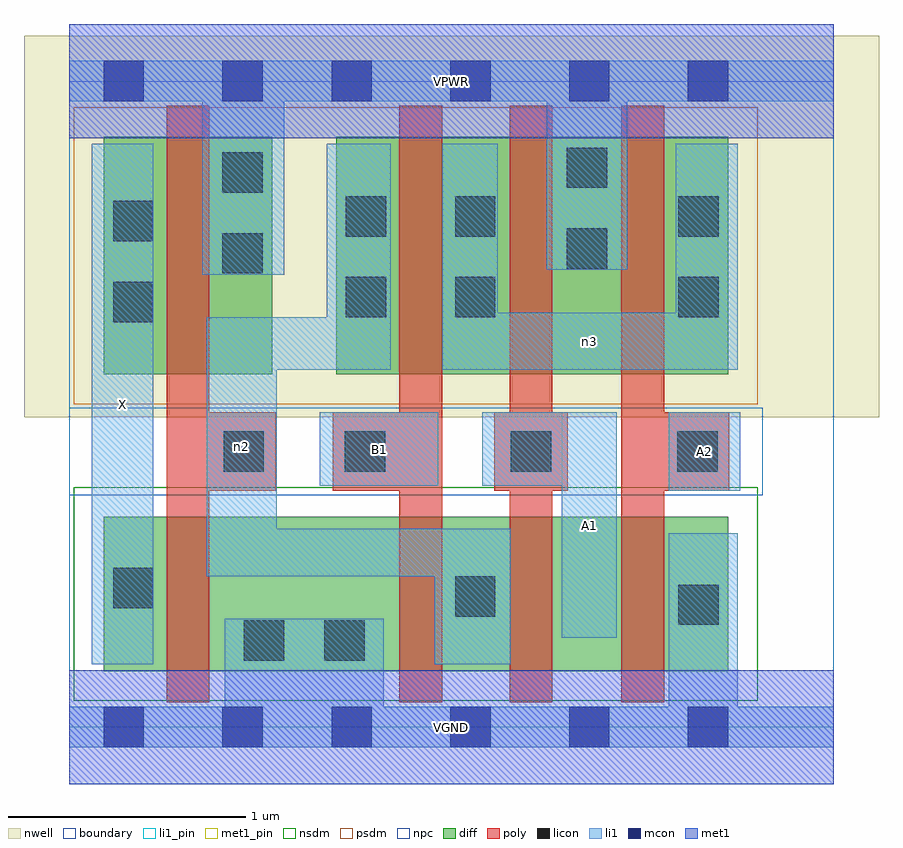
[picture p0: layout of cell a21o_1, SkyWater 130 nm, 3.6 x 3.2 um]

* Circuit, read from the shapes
.subckt a21o_1 A1 A2 B1 VGND VPWR X n2 n3
XM1 VGND n2 X VSUBS sky130_fd_pr__nfet_01v8 w=0.65 l=0.18
XM2 n2 B1 VGND VSUBS sky130_fd_pr__nfet_01v8 w=0.65 l=0.18
XM3 n1 A1 n2 VSUBS sky130_fd_pr__nfet_01v8 w=0.65 l=0.18
XM4 VGND A2 n1 VSUBS sky130_fd_pr__nfet_01v8 w=0.65 l=0.18
XM5 VPWR n2 X n4 sky130_fd_pr__pfet_01v8 w=1 l=0.18
XM6 n3 B1 n2 n4 sky130_fd_pr__pfet_01v8 w=1 l=0.18
XM7 VPWR A1 n3 n4 sky130_fd_pr__pfet_01v8 w=1 l=0.18
XM8 n3 A2 VPWR n4 sky130_fd_pr__pfet_01v8 w=1 l=0.18
.ends

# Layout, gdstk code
import gdstk
lib = gdstk.Library(unit=1e-6, precision=1e-09)
def R(c, l, rs):  # rectangles x0, y0, x1, y1
    for r in rs: c.add(gdstk.rectangle(r[:2], r[2:], *l))
def A(c, l, x, y, w, h, nx, ny, dx, dy):  # array of equal rectangles
    R(c, l, [(x+i*dx, y+j*dy, x+i*dx+w, y+j*dy+h) for i in range(nx) for j in range(ny)])
nwell = (64, 20)
diff = (65, 20)
poly = (66, 20)
licon = (66, 44)
li1_pin = (67, 16)
li1 = (67, 20)
mcon = (67, 44)
met1_pin = (68, 16)
met1 = (68, 20)
nsdm = (93, 44)
psdm = (94, 20)
npc = (95, 20)
boundary = (235, 4)

a21o_1 = lib.new_cell('a21o_1')
R(a21o_1, nwell, [(-0.19,1.305,3.41,2.91), (0,1.305,3.22,2.91)])
R(a21o_1, diff, [(0.145,0.235,2.775,0.885), (0.145,1.485,0.855,2.485), (1.125,1.485,2.775,2.485)])
R(a21o_1, poly, [(0.41,0.105,0.59,2.615), (1.39,0.105,1.57,2.615), (1.855,0.105,2.035,2.615), (2.325,0.105,2.505,2.615), (0.41,0.995,0.87,1.325), (1.11,0.995,1.57,1.325), (1.79,0.995,2.1,1.325), (2.325,0.995,2.78,1.325)])
A(a21o_1, licon, 1.16, 1.075, 0.17, 0.17, 3, 1, 0.7, 0)
R(a21o_1, licon, [(0.735,0.28,0.905,0.45), (1.075,0.28,1.245,0.45), (2.565,0.43,2.735,0.6), (1.625,0.465,1.795,0.635), (0.185,0.5,0.355,0.67), (0.65,1.075,0.82,1.245), (0.185,1.705,0.355,1.875), (1.165,1.725,1.335,1.895), (1.625,1.725,1.795,1.895), (2.565,1.725,2.735,1.895), (0.645,1.91,0.815,2.08), (2.095,1.93,2.265,2.1), (0.185,2.045,0.355,2.215), (1.165,2.065,1.335,2.235), (1.625,2.065,1.795,2.235), (2.565,2.065,2.735,2.235), (0.645,2.25,0.815,2.42), (2.095,2.27,2.265,2.44)])
R(a21o_1, li1_pin, [(0.095,0.265,0.355,2.455), (2.075,0.375,2.305,1.325), (2.525,0.995,2.825,1.325), (1.055,1.015,1.555,1.325)])
R(a21o_1, li1, [(0,-0.085,3.22,0.085), (0.655,-0.085,1.325,0.455), (2.525,-0.085,2.815,0.815), (0.095,0.265,0.355,2.455), (1.54,0.265,1.86,0.835), (2.075,0.375,2.305,1.325), (0.58,0.635,0.875,1.725), (0.58,0.635,1.86,0.835), (2.525,0.995,2.825,1.325), (1.055,1.015,1.555,1.325), (1.74,1.015,2.305,1.325), (0.58,1.505,1.355,1.725), (1.085,1.505,1.355,2.455), (1.57,1.505,2.815,1.745), (1.57,1.505,1.805,2.455), (2.555,1.505,2.815,2.455), (0.56,1.905,0.905,2.805), (2.01,1.925,2.35,2.805), (0,2.635,3.22,2.805)])
A(a21o_1, mcon, 1.105, -0.085, 0.17, 0.17, 4, 2, 0.5, 2.72)
R(a21o_1, mcon, [(0.145,-0.085,0.315,0.085), (0.645,-0.085,0.815,0.085), (0.145,2.635,0.315,2.805), (0.645,2.635,0.815,2.805)])
R(a21o_1, met1_pin, [(0,-0.24,3.22,0.24), (0,2.48,3.22,2.96)])
R(a21o_1, met1, [(0,-0.24,3.22,0.24), (0,2.48,3.22,2.96)])
R(a21o_1, nsdm, [(0.02,0.11,2.9,1.01)])
R(a21o_1, psdm, [(0.02,1.36,2.9,2.61)])
R(a21o_1, npc, [(0,0.975,2.92,1.345)])
R(a21o_1, boundary, [(0,0,3.22,2.72)])
a21o_1.add(gdstk.Label('A1', (2.19,0.85), layer=67, texttype=5))
a21o_1.add(gdstk.Label('A2', (2.675,1.16), layer=67, texttype=5))
a21o_1.add(gdstk.Label('B1', (1.305,1.17), layer=67, texttype=5))
a21o_1.add(gdstk.Label('X', (0.225,1.36), layer=67, texttype=5))
a21o_1.add(gdstk.Label('n2', (0.727,1.18), layer=67, texttype=5))
a21o_1.add(gdstk.Label('n3', (2.192,1.625), layer=67, texttype=5))
a21o_1.add(gdstk.Label('VPWR', (1.61,2.72), layer=68, texttype=5))
a21o_1.add(gdstk.Label('VGND', (1.61,0), layer=68, texttype=5))
a21o_1.add(gdstk.Label('A1', (2.19,0.85), layer=67, texttype=16))
a21o_1.add(gdstk.Label('A2', (2.675,1.16), layer=67, texttype=16))
a21o_1.add(gdstk.Label('B1', (1.305,1.17), layer=67, texttype=16))
a21o_1.add(gdstk.Label('X', (0.225,1.36), layer=67, texttype=16))
a21o_1.add(gdstk.Label('VPWR', (1.61,2.72), layer=68, texttype=16))
a21o_1.add(gdstk.Label('VGND', (1.61,0), layer=68, texttype=16))

lib.write_gds('a21o_1.gds')
